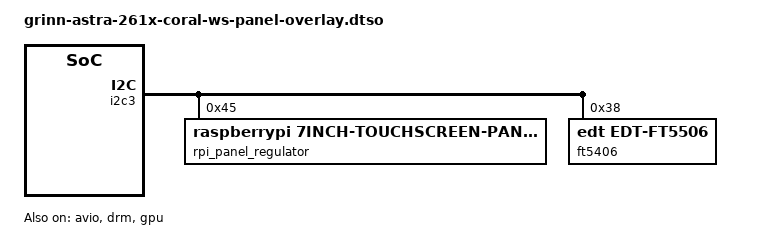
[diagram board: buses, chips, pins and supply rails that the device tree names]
/dts-v1/;
/plugin/;

/ {
	compatible = "grinn,grinn-astra-2619-coral";
};

&avio {
	status = "okay";
};

&drm {
	status = "okay";

	dsi_panel {
		status= "okay";

		power-supply = <&rpi_panel_regulator>;
		backlight = <&rpi_panel_regulator>;
		ACTIVE_WIDTH = <800>;
		HFP = <70>;
		HSYNCWIDTH = <20>;
		HBP = <26>;
		ACTIVE_HEIGHT = <480>;
		VFP = <7>;
		VSYNCWIDTH = <2>;
		VBP = <21>;
		FREQ = <28030>;
		bits_per_pixel = <24>;
		busformat = <0>;

		HTOTAL = <916>;
		Lanes = /bits/ 8 <1>;
		Vid_mode = /bits/ 8 <2>;
		virtual_chan = /bits/ 8 <0>;
		Clk_Lane_Polarity = /bits/ 8 <0>;
		Data_Lane_Polarity = /bits/ 8 <0>;
		Recv_ack = /bits/ 8 <0>;
		Loosely_18 = /bits/ 8 <0>;
		H_polarity = /bits/ 8 <1>;
		V_Polarity = /bits/ 8 <1>;
		Data_Polarity = /bits/ 8 <1>;
		Eotp_tx = /bits/ 8 <1>;
		Eotp_rx = /bits/ 8 <0>;
		non-Continuous_clk = /bits/ 8 <0>;
		dpi_lp_cmd =  /bits/ 8 <1>;
		Color_coding = /bits/ 8 <5>;
		Chunks = <0>;
		Null_Pkt = <0>;
		Byte_clk = <84090>;

		command = /bits/ 8 <0x29  0x06 0x10  0x02  0x03  0x00  0x00 0x00
				    0x29  0x06 0x64  0x01  0x0C  0x00  0x00 0x00
				    0x29  0x06 0x68  0x01  0x0C  0x00  0x00 0x00
				    0x29  0x06 0x44  0x01  0x00  0x00  0x00 0x00
				    0x29  0x06 0x48  0x01  0x00  0x00  0x00 0x00
				    0x29  0x06 0x14  0x01  0x15  0x00  0x00 0x00
				    0x29  0x06 0x50  0x04  0x60  0x00  0x00 0x00
				    0x29  0x06 0x20  0x04  0x52  0x01  0x10 0x00
				    0x29  0x06 0x28  0x04  0x20  0x03  0x69 0x00
				    0x29  0x06 0x2C  0x04  0x02  0x00  0x15 0x00
				    0x29  0x06 0x30  0x04  0xe0  0x01  0x07 0x00
				    0x29  0x06 0x34  0x04  0x0f  0x04  0x00 0x00
				    0x29  0x06 0x64  0x04  0x0f  0x04  0x00 0x00
				    0x29  0x06 0x04  0x01  0x01  0x00  0x00 0x00
				    0x29  0x06 0x04  0x02  0x01  0x00  0x00 0x00
				    0xFF  0xC0 0xD4  0x01  0x00
				    0xFF  0x10 0x27  0x00  0x00>;
	};
};

&gpu {
	status = "okay";
};

&i2c3 {
	rpi_panel_regulator: rpi_panel_regulator@45 {
		compatible = "raspberrypi,7inch-touchscreen-panel-regulator";
		reg = <0x45>;
		gpio-controller;
		#gpio-cells = <2>;
	};

	ft5406: ts@38 {
		compatible = "edt,edt-ft5506";
		reg = <0x38>;
		touchscreen-size-x = < 800 >;
		touchscreen-size-y = < 480 >;
		touchscreen-inverted-x;
		touchscreen-inverted-y;
	};
};
